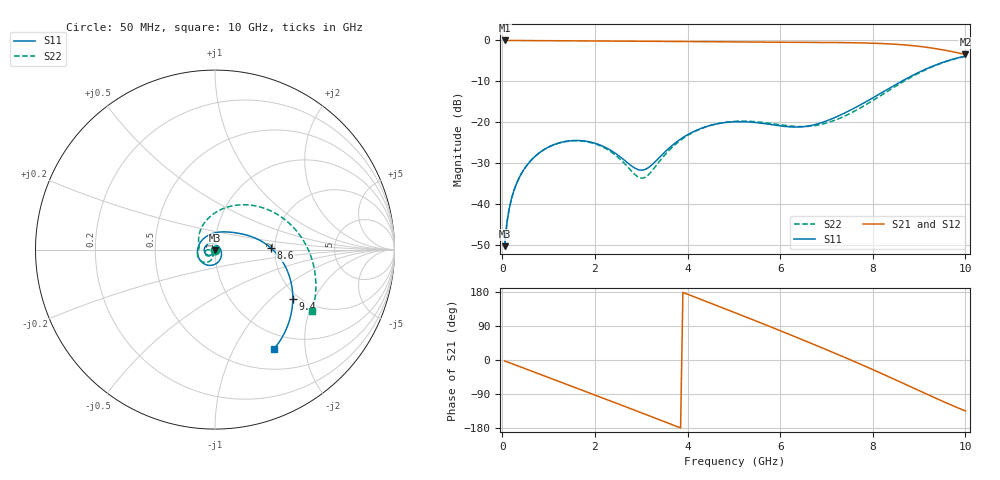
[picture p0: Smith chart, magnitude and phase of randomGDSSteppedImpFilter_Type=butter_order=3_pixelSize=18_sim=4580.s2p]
! freq	dB(S11)	phase(S11)	dB(S12)	phase(S12)
!  dB(S21)	phase(S21)	dB(S22)	phase(S22)
!S-par simulation data
#  GHz  S  DB  R 50
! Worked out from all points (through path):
!   200 points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, 50 MHz to 10 GHz, reference 50 ohm
!   highest |S21| = 0.00 dB at 50 MHz (marker M1); lowest = -3.4 dB at 10 GHz (marker M2)
!   group delay of S21, straight-line fit = 137 ps
!   lowest |S11| = -50.2 dB at 50 MHz (marker M3), VSWR 1.01, Z = 50 - j0.308 ohm
!   |S11| at or under -10 dB: start of sweep to 8.618 GHz
!   |S22| runs from -50.2 to -3.9 dB; largest |S21 - S12| = 0
!   S11 on the Smith chart (normalised r, x): 50 MHz: 1.00, -0.01; 8.6 GHz: 1.91, +0.04; 9.4 GHz: 1.86, -1.38; 10 GHz: 0.78, -1.46
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0.05  -50.22 -87.3  -0.00 -2.4  -0.00 -2.4  -50.21 -86.8
0.1  -44.47 -92.2  -0.01 -4.7  -0.01 -4.7  -44.46 -91.3
0.2  -38.57 -99.1  -0.02 -9.3  -0.02 -9.3  -38.56 -97.3
0.5  -30.95 -115.9  -0.03 -23.2  -0.03 -23.2  -30.95 -111.4
1.05  -25.75 -145.1  -0.07 -48.6  -0.07 -48.6  -25.76 -134.8
1.75  -24.51 175.9  -0.10 -80.9  -0.10 -80.9  -24.59 -161.8
2.35  -26.88 134.5  -0.13 -108.7  -0.13 -108.7  -27.20 -178.1
3  -31.67 46.4  -0.17 -139.1  -0.17 -139.1  -33.62 -146.8
3.4  -28.48 -20.9  -0.20 -157.9  -0.20 -157.9  -29.43 -108.9
4.2  -21.89 -88.0  -0.28 164.2  -0.28 164.2  -22.00 -119.5
5.05  -19.84 -140.8  -0.37 123.6  -0.37 123.6  -19.73 -148.7
5.85  -20.62 164.3  -0.41 84.8  -0.41 84.8  -20.34 -173.8
6.25  -21.12 131.6  -0.43 65.1  -0.43 65.1  -20.92 176.8
6.7  -20.69 93.3  -0.45 42.5  -0.45 42.5  -20.87 166.6
7.15  -18.97 61.4  -0.50 19.5  -0.50 19.5  -19.61 150.8
7.55  -16.82 40.9  -0.56 -1.3  -0.56 -1.3  -17.60 129.2
7.95  -14.36 25.3  -0.66 -22.6  -0.66 -22.6  -15.02 102.5
8.35  -11.73 10.9  -0.84 -44.4  -0.84 -44.4  -12.18 74.0
8.6  -10.11 1.6  -1.01 -58.3  -1.01 -58.3  -10.45 56.3
9  -7.75 -14.7  -1.44 -80.8  -1.44 -80.8  -7.94 29.0
9.4  -5.81 -32.2  -2.08 -103.0  -2.08 -103.0  -5.91 3.1
10  -3.83 -59.2  -3.42 -134.5  -3.42 -134.5  -3.85 -32.3
